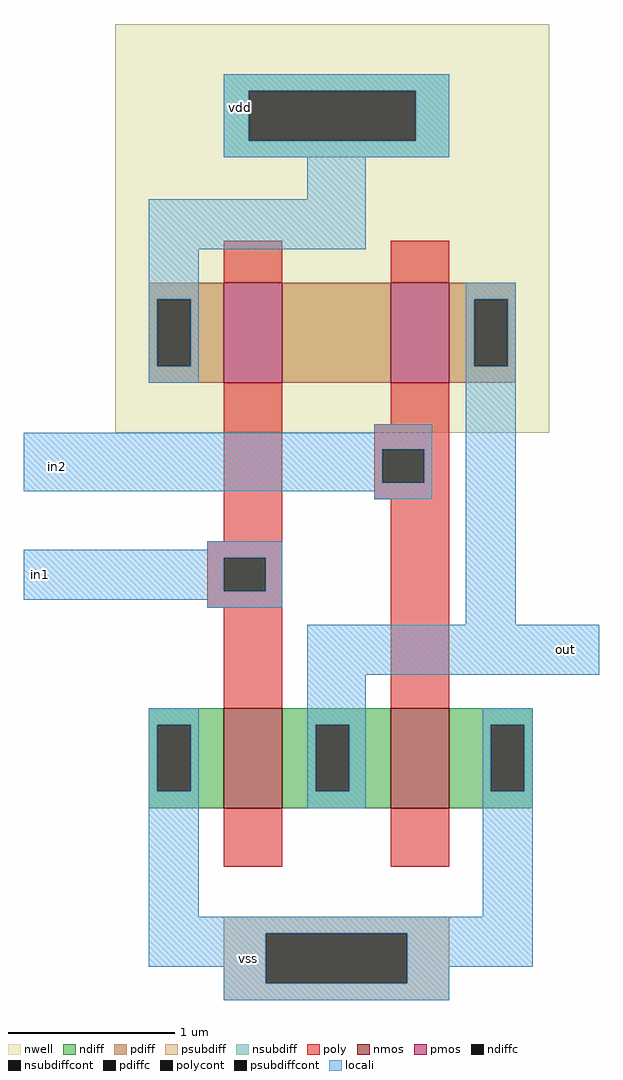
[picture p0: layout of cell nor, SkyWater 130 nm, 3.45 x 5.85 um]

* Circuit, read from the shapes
.subckt nor in1 in2 out vdd vss
XM1 out in1 vss vss sky130_fd_pr__nfet_01v8 w=0.6 l=0.35
XM2 vss in2 out vss sky130_fd_pr__nfet_01v8 w=0.6 l=0.35
XM3 n1 in1 vdd vdd sky130_fd_pr__pfet_01v8 w=0.6 l=0.35
XM4 out in2 n1 vdd sky130_fd_pr__pfet_01v8 w=0.6 l=0.35
.ends

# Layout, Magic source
magic
tech sky130A
<< nwell >>
rect -5 -20 255 225
<< nmos >>
rect 60 -245 95 -185
rect 160 -245 195 -185
<< pmos >>
rect 60 10 95 70
rect 160 10 195 70
<< ndiff >>
rect 15 -195 60 -185
rect 15 -235 20 -195
rect 40 -235 60 -195
rect 15 -245 60 -235
rect 95 -195 160 -185
rect 95 -235 115 -195
rect 135 -235 160 -195
rect 95 -245 160 -235
rect 195 -195 245 -185
rect 195 -235 220 -195
rect 240 -235 245 -195
rect 195 -245 245 -235
<< pdiff >>
rect 15 60 60 70
rect 15 20 20 60
rect 40 20 60 60
rect 15 10 60 20
rect 95 10 160 70
rect 195 60 235 70
rect 195 20 210 60
rect 230 20 235 60
rect 195 10 235 20
<< ndiffc >>
rect 20 -235 40 -195
rect 115 -235 135 -195
rect 220 -235 240 -195
<< pdiffc >>
rect 20 20 40 60
rect 210 20 230 60
<< psubdiff >>
rect 60 -320 195 -310
rect 60 -350 85 -320
rect 170 -350 195 -320
rect 60 -360 195 -350
<< nsubdiff >>
rect 60 185 195 195
rect 60 155 75 185
rect 175 155 195 185
rect 60 145 195 155
<< psubdiffcont >>
rect 85 -350 170 -320
<< nsubdiffcont >>
rect 75 155 175 185
<< poly >>
rect 60 70 95 95
rect 160 70 195 95
rect 60 -85 95 10
rect 160 -15 195 10
rect 150 -30 195 -15
rect 150 -50 155 -30
rect 180 -50 195 -30
rect 150 -60 195 -50
rect 50 -95 95 -85
rect 50 -115 60 -95
rect 85 -115 95 -95
rect 50 -125 95 -115
rect 60 -185 95 -125
rect 160 -185 195 -60
rect 60 -280 95 -245
rect 160 -280 195 -245
<< polycont >>
rect 155 -50 180 -30
rect 60 -115 85 -95
<< locali >>
rect 60 185 195 195
rect 60 155 75 185
rect 175 155 195 185
rect 60 145 195 155
rect 110 120 145 145
rect 15 90 145 120
rect 15 60 45 90
rect 15 20 20 60
rect 40 20 45 60
rect 15 10 45 20
rect 205 60 235 70
rect 205 20 210 60
rect 230 20 235 60
rect 150 -20 185 -15
rect -60 -30 185 -20
rect -60 -50 155 -30
rect 180 -50 185 -30
rect -60 -55 185 -50
rect 150 -60 185 -55
rect 50 -90 95 -85
rect -60 -95 95 -90
rect -60 -115 60 -95
rect 85 -115 95 -95
rect -60 -120 95 -115
rect 50 -125 95 -120
rect 205 -135 235 20
rect 110 -165 285 -135
rect 15 -195 45 -185
rect 15 -235 20 -195
rect 40 -235 45 -195
rect 15 -310 45 -235
rect 110 -195 145 -165
rect 110 -235 115 -195
rect 135 -235 145 -195
rect 110 -245 145 -235
rect 215 -195 245 -185
rect 215 -235 220 -195
rect 240 -235 245 -195
rect 215 -310 245 -235
rect 15 -320 245 -310
rect 15 -340 85 -320
rect 60 -350 85 -340
rect 170 -340 245 -320
rect 170 -350 195 -340
rect 60 -360 195 -350
<< labels >>
rlabel locali 75 -335 75 -335 1 vss
rlabel locali 70 175 70 175 1 vdd
rlabel locali -50 -105 -50 -105 1 in1
rlabel locali -40 -40 -40 -40 1 in2
rlabel locali 265 -150 265 -150 1 out
<< end >>
